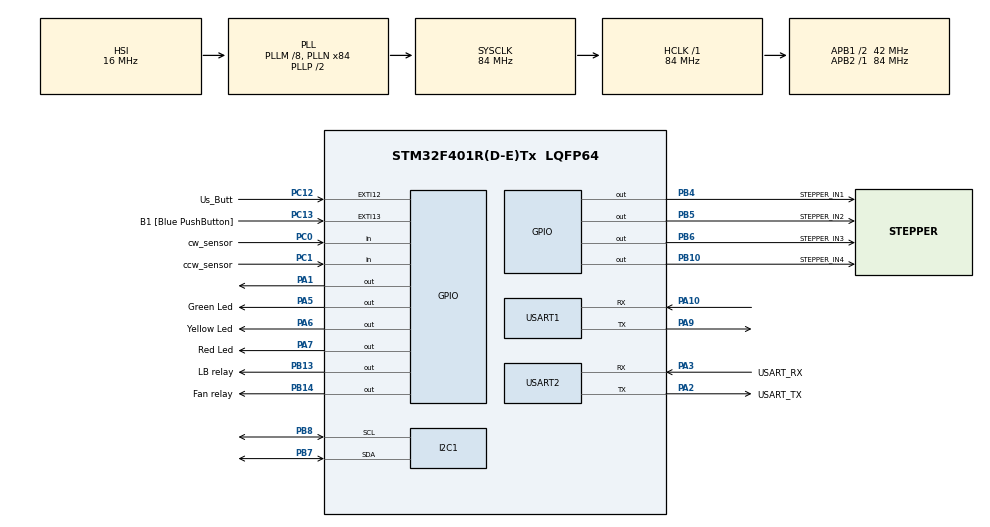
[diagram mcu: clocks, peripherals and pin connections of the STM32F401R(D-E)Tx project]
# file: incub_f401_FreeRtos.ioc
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FREERTOS.Tasks01=defaultTask,24,128,StartDefaultTask,Default,NULL,Dynamic,NULL,NULL;SensorCommTask,40,512,StartSensorCommTask,Default,NULL,Dynamic,NULL,NULL;StepperTask,24,512,StartStepperTask,Default,NULL,Dynamic,NULL,NULL;FanTask,8,512,StartFanTask,Default,NULL,Dynamic,NULL,NULL;BulbTask,8,512,StartBulbTask,Default,NULL,Dynamic,NULL,NULL;LEDTask,16,512,StartLEDTask,Default,NULL,Dynamic,NULL,NULL;DisplayTask,8,512,StartDisplayTask,Default,NULL,Dynamic,NULL,NULL
FREERTOS.configUSE_NEWLIB_REENTRANT=1
Mcu.Family=STM32F4
Mcu.Name=STM32F401R(D-E)Tx
Mcu.Package=LQFP64
NVIC.EXTI15_10_IRQn=true\:5\:0\:false\:false\:true\:true\:true\:true\:true
NVIC.PriorityGroup=NVIC_PRIORITYGROUP_4
NVIC.TIM3_IRQn=true\:15\:0\:false\:false\:true\:false\:false\:true\:true
NVIC.TimeBase=TIM3_IRQn
NVIC.TimeBaseIP=TIM3
PA1.GPIO_ModeDefaultOutputPP=GPIO_MODE_OUTPUT_PP
PA1.GPIO_PuPd=GPIO_PULLUP
PA1.PinState=GPIO_PIN_SET
PA1.Signal=GPIO_Output
PA10.Mode=Asynchronous
PA10.Signal=USART1_RX
PA13.GPIO_Label=TMS
PA13.Mode=Trace_Asynchronous_SW
PA13.Signal=SYS_JTMS-SWDIO
PA14.GPIO_Label=TCK
PA14.Mode=Trace_Asynchronous_SW
PA14.Signal=SYS_JTCK-SWCLK
PA2.GPIO_Label=USART_TX
PA2.GPIO_Mode=GPIO_MODE_AF_PP
PA2.GPIO_PuPd=GPIO_NOPULL
PA2.GPIO_Speed=GPIO_SPEED_FREQ_LOW
PA2.Mode=Asynchronous
PA2.Signal=USART2_TX
PA3.GPIO_Label=USART_RX
PA3.GPIO_Mode=GPIO_MODE_AF_PP
PA3.GPIO_PuPd=GPIO_NOPULL
PA3.GPIO_Speed=GPIO_SPEED_FREQ_LOW
PA3.Mode=Asynchronous
PA3.Signal=USART2_RX
PA5.GPIO_Label=Green Led
PA5.GPIO_Mode=GPIO_MODE_OUTPUT_PP
PA5.GPIO_PuPd=GPIO_NOPULL
PA5.GPIO_Speed=GPIO_SPEED_FREQ_LOW
PA5.Signal=GPIO_Output
PA6.GPIO_Label=Yellow Led
PA6.Signal=GPIO_Output
PA7.GPIO_Label=Red Led
PA7.GPIO_Speed=GPIO_SPEED_FREQ_LOW
PA7.Signal=GPIO_Output
PA9.Mode=Asynchronous
PA9.Signal=USART1_TX
PB10.GPIO_Label=STEPPER_IN4
PB10.Signal=GPIO_Output
PB13.GPIO_Label=LB relay
PB13.Signal=GPIO_Output
PB14.GPIO_Label=Fan relay
PB14.Signal=GPIO_Output
PB3.GPIO_Label=SWO
PB3.Mode=Trace_Asynchronous_SW
PB3.Signal=SYS_JTDO-SWO
PB4.GPIO_Label=STEPPER_IN1
PB4.Signal=GPIO_Output
PB5.GPIO_Label=STEPPER_IN2
PB5.Signal=GPIO_Output
PB6.GPIO_Label=STEPPER_IN3
PB6.Signal=GPIO_Output
PB7.Mode=I2C
PB7.Signal=I2C1_SDA
PB8.Mode=I2C
PB8.Signal=I2C1_SCL
PC0.GPIO_Label=cw_sensor
PC0.GPIO_PuPd=GPIO_PULLUP
PC0.Signal=GPIO_Input
PC1.GPIO_Label=ccw_sensor
PC1.GPIO_Mode=GPIO_MODE_INPUT
PC1.GPIO_PuPd=GPIO_PULLUP
PC1.Signal=GPIO_Input
PC12.GPIO_Label=Us_Butt
PC12.GPIO_PuPd=GPIO_NOPULL
PC12.Signal=GPXTI12
PC13-ANTI_TAMP.GPIO_Label=B1 [Blue PushButton]
PC13-ANTI_TAMP.GPIO_ModeDefaultEXTI=GPIO_MODE_IT_FALLING
PC13-ANTI_TAMP.GPIO_PuPd=GPIO_NOPULL
PC13-ANTI_TAMP.Signal=GPXTI13
PC14-OSC32_IN.Mode=LSE-External-Oscillator
PC14-OSC32_IN.Signal=RCC_OSC32_IN
PC15-OSC32_OUT.Mode=LSE-External-Oscillator
PC15-OSC32_OUT.Signal=RCC_OSC32_OUT
PH0\ -\ OSC_IN.Mode=HSE-External-Clock-Source
PH0\ -\ OSC_IN.Signal=RCC_OSC_IN
PH1\ -\ OSC_OUT.Mode=HSE-External-Clock-Source
PH1\ -\ OSC_OUT.Signal=RCC_OSC_OUT
ProjectManager.HeapSize=0x200
ProjectManager.StackSize=0x400
ProjectManager.TargetToolchain=STM32CubeIDE
RCC.48MHZClocksFreq_Value=24000000
RCC.AHBFreq_Value=84000000
RCC.APB1CLKDivider=RCC_HCLK_DIV2
RCC.APB1Freq_Value=42000000
RCC.APB1TimFreq_Value=84000000
RCC.APB2Freq_Value=84000000
RCC.APB2TimFreq_Value=84000000
RCC.CortexFreq_Value=84000000
RCC.HCLKFreq_Value=84000000
RCC.HSE_VALUE=8000000
RCC.HSI_VALUE=16000000
RCC.PLLM=8
RCC.PLLN=84
RCC.PLLQ=7
RCC.SYSCLKFreq_VALUE=84000000
RCC.SYSCLKSource=RCC_SYSCLKSOURCE_PLLCLK
RCC.VCOOutputFreq_Value=168000000
TIM1.Prescaler=83
USART1.VirtualMode=VM_ASYNC
USART2.VirtualMode=VM_ASYNC
VP_FREERTOS_VS_CMSIS_V2.Mode=CMSIS_V2
VP_SYS_VS_tim3.Mode=TIM3
VP_TIM1_VS_ClockSourceINT.Mode=Internal
board=NUCLEO-F401RE

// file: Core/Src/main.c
 /* USER CODE BEGIN Header */
/**
  ******************************************************************************
  * @file           : main.c
  * @brief          : Main program body
  ******************************************************************************
  * @attention
  *
  * Copyright (c) 2025 STMicroelectronics.
  * All rights reserved.
  *
  * This software is licensed under terms that can be found in the LICENSE file
  * in the root directory of this software component.
  * If no LICENSE file comes with this software, it is provided AS-IS.
  *
  ******************************************************************************
  */
/* USER CODE END Header */
#include "main.h"
#include "cmsis_os.h"

/* USER CODE BEGIN Includes */
#include <stdio.h>
#include <stdbool.h>
#include <string.h>

/* USER CODE END Includes */

/* USER CODE BEGIN PM */
#define HMIN 50.0f
#define HMAX 55.0f
#define H_MID 52.5f
#define MOY_THRESHOLD 0.5f
/* USER CODE END PM */

I2C_HandleTypeDef hi2c1;

TIM_HandleTypeDef htim1;

UART_HandleTypeDef huart1;
UART_HandleTypeDef huart2;

/* Definitions for defaultTask */
osThreadId_t defaultTaskHandle;
const osThreadAttr_t defaultTask_attributes = {
  .name = "defaultTask",
  .stack_size = 128 * 4,
  .priority = (osPriority_t) osPriorityNormal,
};
/* Definitions for SensorCommTask */
osThreadId_t SensorCommTaskHandle;
const osThreadAttr_t SensorCommTask_attributes = {
  .name = "SensorCommTask",
  .stack_size = 512 * 4,
  .priority = (osPriority_t) osPriorityHigh,
};
/* Definitions for StepperTask */
osThreadId_t StepperTaskHandle;
const osThreadAttr_t StepperTask_attributes = {
  .name = "StepperTask",
  .stack_size = 512 * 4,
  .priority = (osPriority_t) osPriorityNormal,
};
/* Definitions for FanTask */
osThreadId_t FanTaskHandle;
const osThreadAttr_t FanTask_attributes = {
  .name = "FanTask",
  .stack_size = 512 * 4,
  .priority = (osPriority_t) osPriorityLow,
};
/* Definitions for BulbTask */
osThreadId_t BulbTaskHandle;
const osThreadAttr_t BulbTask_attributes = {
  .name = "BulbTask",
  .stack_size = 512 * 4,
  .priority = (osPriority_t) osPriorityLow,
};
/* Definitions for LEDTask */
osThreadId_t LEDTaskHandle;
const osThreadAttr_t LEDTask_attributes = {
  .name = "LEDTask",
  .stack_size = 512 * 4,
  .priority = (osPriority_t) osPriorityBelowNormal,
};
/* Definitions for DisplayTask */
osThreadId_t DisplayTaskHandle;
const osThreadAttr_t DisplayTask_attributes = {
  .name = "DisplayTask",
  .stack_size = 512 * 4,
  .priority = (osPriority_t) osPriorityLow,
};
/* USER CODE BEGIN PV */
volatile uint8_t stepper_timer_flag = 1;

uint32_t tReset = 0;
uint8_t current_screen = 1;
bool Hgood = false;

volatile int8_t StepperState = 0;
volatile uint8_t speed = 0;

uint32_t tFan = 0;
uint32_t tFanOn = 10000;   // initial on time in ms
uint32_t tFanOFF = 20000;  // initial off time in ms
uint8_t FanState = 1;      // 1 = ON, 0 = OFF

bool LBon = false;
uint32_t tLastLBon = 0;

/* USER CODE END PV */

void SystemClock_Config(void);
static void MX_GPIO_Init(void);
static void MX_USART2_UART_Init(void);
static void MX_TIM1_Init(void);
static void MX_USART1_UART_Init(void);
static void MX_I2C1_Init(void);
void StartDefaultTask(void *argument);
void StartSensorCommTask(void *argument);
void StartStepperTask(void *argument);
void StartFanTask(void *argument);
void StartBulbTask(void *argument);
void StartLEDTask(void *argument);
void StartDisplayTask(void *argument);

/* USER CODE BEGIN 0 */
// System variables

void scan_i2c_bus(void)
{
    char msg[32];
    HAL_UART_Transmit(&huart2, (uint8_t*)"Scanning I2C bus:\r\n", 20, HAL_MAX_DELAY);

    for (uint8_t addr = 1; addr < 128; addr++)
    {
        if (HAL_I2C_IsDeviceReady(&hi2c1, addr << 1, 1, 10) == HAL_OK)
        {
            int len = sprintf(msg, "Found device at 0x%02X\r\n", addr);
            HAL_UART_Transmit(&huart2, (uint8_t*)msg, len, HAL_MAX_DELAY);
        }
    }
    HAL_UART_Transmit(&huart2, (uint8_t*)"Scan done.\r\n", 12, HAL_MAX_DELAY);
}

float h, f,t, tLBon100;
float tmin = 1000.0f;  // start with a large number
float tmax = -1000.0f; // start with a very small number
float hmin = 1000.0f;
float hmax = -1000.0f;

void Led(float h)
{

    if (h >= HMIN && h <= HMAX)
    {
        HAL_GPIO_WritePin(GPIOA, Red_Led_Pin, GPIO_PIN_RESET);
        HAL_GPIO_WritePin(GPIOA, Yellow_Led_Pin, GPIO_PIN_RESET);
        HAL_GPIO_WritePin(GPIOA, Green_Led_Pin, GPIO_PIN_SET);
        Hgood = true;
    }
    else if (((h >= HMIN - 1) && (h < HMIN)) || ((h > HMAX) && (h <= HMAX + 1)))
    {
        HAL_GPIO_WritePin(GPIOA, Red_Led_Pin, GPIO_PIN_RESET);
        HAL_GPIO_WritePin(GPIOA, Yellow_Led_Pin, GPIO_PIN_SET);
        HAL_GPIO_WritePin(GPIOA, Green_Led_Pin, GPIO_PIN_RESET);
        Hgood = false;
    }
    else
    {
        HAL_GPIO_WritePin(GPIOA, Red_Led_Pin, GPIO_PIN_SET);
        HAL_GPIO_WritePin(GPIOA, Yellow_Led_Pin, GPIO_PIN_RESET);
        HAL_GPIO_WritePin(GPIOA, Green_Led_Pin, GPIO_PIN_RESET);
        Hgood = false;
    }

}

void Stepper_Update(void) {

    // Normal stepping (if enabled and no stop request)
    if (stepper_timer_flag) {

        Stepper_Step(1);
    }
}

typedef enum {
    STEPPER_IDLE = 0,
    STEPPER_MOVING_CW,
    STEPPER_MOVING_CCW
} StepperRunState;

StepperRunState stepper_run_state = STEPPER_IDLE;

void StepperControl(float h)
{

	static float tab[10] = {0};
	static uint8_t k = 0;
    float sum = 0;

    // Update circular buffer
    tab[k] = h;
    k = (k + 1) % 10;

    if (!Hgood) {
        float fillValue = (h < H_MID) ? HMIN : HMAX;
        for (int j = 0; j < 10; j++) {
            tab[j] = fillValue;
        }
        k = 0;

        // Direct control based on raw h
        speed = 50;
        StepperState = (h > H_MID) ? 1 : -1;

    } else {
        // Filtered control based on average of last 10 readings
        speed = 15;
        for (int j = 0; j < 10; j++) {
            sum += tab[j];
        }

        float moy = sum / 10.0f;
        float diff = moy - H_MID;

        if (diff >= MOY_THRESHOLD)
            StepperState = -1;
        else if (diff <= -MOY_THRESHOLD)
            StepperState = 1;
        else
            StepperState = 0;
    }
    /*
    // Determine speed and StepperState based on Hgood and h
    if (!Hgood)
    {
        speed = 10;
        StepperState = (h > 52.5f) ? -1 : 1;
    }
    else
    {
        speed = 10;
        if (h > 53.0f)
            StepperState = -1;
        else if (h < 52.0f)
            StepperState = 1;
        else
            StepperState = 0;
    }*/

    // Apply the speed setting to the stepper driver
    Stepper_SetSpeed(speed);

    // Update direction and run state
    if (StepperState == 1 && stepper_run_state != STEPPER_MOVING_CCW)
    {
        current_direction = DIRECTION_CCW;
        stepper_run_state = STEPPER_MOVING_CCW;
    }
    else if (StepperState == -1 && stepper_run_state != STEPPER_MOVING_CW)
    {
        current_direction = DIRECTION_CW;
        stepper_run_state = STEPPER_MOVING_CW;
    }
    else if (StepperState == 0)
    {
        Stepper_Stop();
        stepper_run_state = STEPPER_IDLE;
    }

    // Step execution with limit switch checking
    if (stepper_run_state == STEPPER_MOVING_CCW)
    {
        if (HAL_GPIO_ReadPin(GPIOC, GPIO_PIN_1) == GPIO_PIN_SET)
        {
            Stepper_Step(1);
        }
        else
        {
            Stepper_Stop();
            stepper_run_state = STEPPER_IDLE;
            StepperState = 0;
        }
    }
    else if (stepper_run_state == STEPPER_MOVING_CW)
    {
        if (HAL_GPIO_ReadPin(GPIOC, GPIO_PIN_0) == GPIO_PIN_SET)
        {
            Stepper_Step(1);
        }
        else
        {
            Stepper_Stop();
            stepper_run_state = STEPPER_IDLE;
            StepperState = 0;
        }
    }
}

void FanUpdate(float h)
{
    uint32_t now = HAL_GetTick();

    // Set timing based on humidity and Hgood
    if (Hgood) {
        tFanOn = 10000;
        tFanOFF = 20000;
    }
    if (h > 65) {
        tFanOn = 20000;
        tFanOFF = 15000;
    }
    else if (h < 60) {
        tFanOn = 10000;
        tFanOFF = 30000;
    }

    // Fan control logic
    if ((now - tFan >= tFanOn) && (FanState == 1)) {
        tFan = now;
        HAL_GPIO_WritePin(GPIOB, GPIO_PIN_14, GPIO_PIN_SET);  // FAN OFF (relay HIGH)
        FanState = 0;
        char msg[] = "FAN OFF\r\n";
        HAL_UART_Transmit(&huart2, (uint8_t*)msg, sizeof(msg) - 1, HAL_MAX_DELAY);
    }
    else if ((now - tFan >= tFanOFF) && (FanState == 0)) {
        tFan = now;
        HAL_GPIO_WritePin(GPIOB, GPIO_PIN_14, GPIO_PIN_RESET);    // FAN ON (relay LOW)
        FanState = 1;
        char msg[] = "FAN ON\r\n";
        HAL_UART_Transmit(&huart2, (uint8_t*)msg, sizeof(msg) - 1, HAL_MAX_DELAY);
    }
}

void LBrelay(void)
{
    char msg[64];  // Buffer for UART message

    if ((f <= 99) && (!LBon)) {
        // Close relay (ON) -> HIGH
        HAL_GPIO_WritePin(GPIOB, GPIO_PIN_13, GPIO_PIN_RESET);   // Relay HIGH = ON

        LBon = true;
        tLastLBon = HAL_GetTick();

        snprintf(msg, sizeof(msg), "Relay ON at %lu ms, Temp F=%.2f\r\n", tLastLBon, f);
        HAL_UART_Transmit(&huart2, (uint8_t*)msg, strlen(msg), HAL_MAX_DELAY);
    }

    if ((f >= 105.5) && (LBon)) {
        // Open relay (OFF) -> LOW
        HAL_GPIO_WritePin(GPIOB, GPIO_PIN_13, GPIO_PIN_SET); // Relay LOW = OFF

        LBon = false;

        snprintf(msg, sizeof(msg), "Relay OFF, Temp F=%.2f\r\n", f);
        HAL_UART_Transmit(&huart2, (uint8_t*)msg, strlen(msg), HAL_MAX_DELAY);
    }
}

void UpdateDisplay() {

  switch(current_screen) {
    case 1: Display_Screen1(h, t); break;
    case 2: Display_Screen2(hmax, hmin); break;
    case 3: Display_Screen3(tmax, tmin); break;
    case 4: Display_Screen4(StepperState); break;
    case 5: Display_Screen5(tReset); break;
  }
}

void HAL_GPIO_EXTI_Callback(uint16_t GPIO_Pin) {
    /*if (GPIO_Pin == GPIO_PIN_13) {
        static uint32_t last_press = 0;
        // Debounce with 300ms threshold
        if (HAL_GetTick() - last_press > 300) {
        	stepper_timer_flag = 0;  // Request stop
            last_press = HAL_GetTick();
        }
    }*/

	volatile uint32_t last_button_press = 0;
    if ((GPIO_Pin == GPIO_PIN_13) || (GPIO_Pin == GPIO_PIN_12 ))  {
        uint32_t now = HAL_GetTick();

        // Simple debounce check
        if (now - last_button_press > 300) {
            last_button_press = now;

            // Your original button handling code
            current_screen = (current_screen % 5) + 1;
            lcd_clear();
            UpdateDisplay();
        }
    }
}

/* USER CODE END 0 */

int main(void)
{

  /* USER CODE BEGIN 1 */
	char uart_buf[64] = "System starting...\n\r" ;

  /* USER CODE END 1 */

  /* MCU Configuration--------------------------------------------------------*/

  /* Reset of all peripherals, Initializes the Flash interface and the Systick. */
  HAL_Init();

  /* Configure the system clock */
  SystemClock_Config();

  /* Initialize all configured peripherals */
  MX_GPIO_Init();
  MX_USART2_UART_Init();
  MX_TIM1_Init();
  MX_USART1_UART_Init();
  MX_I2C1_Init();
  /* USER CODE BEGIN 2 */

  HAL_UART_Transmit(&huart2, (uint8_t*)uart_buf, sizeof(uart_buf), 10);
  DHT11_Init(&htim1);

  /*
  uint32_t last_dht_read = 0;
  uint32_t last_dis5_read = 0;
  */

  scan_i2c_bus();

  lcd_init();

  /* USER CODE END 2 */

  /* Init scheduler */
  osKernelInitialize();

  /* Create the thread(s) */
  /* creation of defaultTask */
  defaultTaskHandle = osThreadNew(StartDefaultTask, NULL, &defaultTask_attributes);

  /* creation of SensorCommTask */
  SensorCommTaskHandle = osThreadNew(StartSensorCommTask, NULL, &SensorCommTask_attributes);

  /* creation of StepperTask */
  StepperTaskHandle = osThreadNew(StartStepperTask, NULL, &StepperTask_attributes);

  /* creation of FanTask */
  FanTaskHandle = osThreadNew(StartFanTask, NULL, &FanTask_attributes);

  /* creation of BulbTask */
  BulbTaskHandle = osThreadNew(StartBulbTask, NULL, &BulbTask_attributes);

  /* creation of LEDTask */
  LEDTaskHandle = osThreadNew(StartLEDTask, NULL, &LEDTask_attributes);

  /* creation of DisplayTask */
  DisplayTaskHandle = osThreadNew(StartDisplayTask, NULL, &DisplayTask_attributes);

  /* Start scheduler */
  osKernelStart();

  /* We should never get here as control is now taken by the scheduler */

  /* Infinite loop */
  while (1)
  {

    /* USER CODE BEGIN 3 */

	  /*

	    // Read DHT11 every 5 seconds
	    if (HAL_GetTick() - last_dht_read >= 5000) {
	        last_dht_read = HAL_GetTick();

	        float temperature, humidity;
	        if (DHT11_ReadData(&temperature, &humidity)) {
	            // Format and send UART data (your existing code)
	            int len = snprintf(uart_buf, sizeof(uart_buf), "Temp: %.1fC, Hum: %.1f%%\r\n", temperature, humidity);
	            HAL_UART_Transmit(&huart2, (uint8_t*)uart_buf, len, HAL_MAX_DELAY);

	            // Update min/max (your existing code)
	            h = humidity;
	            t = temperature;
	            f = (temperature * 9.0f / 5.0f) + 32.0f;
	            if (t < tmin) tmin = t;
	            if (t > tmax) tmax = t;
	            if (h < hmin) hmin = h;
	            if (h > hmax) hmax = h;

	            // Send to ESP32
	            char esp32_buf[100];
	            uint32_t seconds = (HAL_GetTick() - tReset) / 1000;
	            uint32_t days = seconds / 86400;
	            seconds %= 86400;
	            uint32_t hours = seconds / 3600;
	            seconds %= 3600;
	            uint32_t minutes = seconds / 60;
	            seconds %= 60;

	            char uptime_str[20];
	            sprintf(uptime_str, "%02lu:%02lu:%02lu:%02lu", days, hours, minutes, seconds);

	            const char *DoorState;
	            if (StepperState == 1)
	                DoorState = "Opening";
	            else if (StepperState == -1)
	                DoorState = "Closing";
	            else
	                DoorState = "Idle";

	            int esp_len = snprintf(esp32_buf, sizeof(esp32_buf),
	                                   "T:%.1fF H:%.1f%% Tmin:%.1f Tmax:%.1f Hmin:%.1f Hmax:%.1f Uptime:%s Door:%s\r\n",
	                                   t, h, tmin, tmax, hmin, hmax, uptime_str, DoorState);

	            HAL_UART_Transmit(&huart1, (uint8_t*)esp32_buf, esp_len, HAL_MAX_DELAY);
	        }
	        Led(h);
	        FanUpdate(h);
	        LBrelay();
	        UpdateDisplay();

	    }
	    if (current_screen == 5){
		    if (HAL_GetTick() - last_dis5_read >= 1000) {
		        last_dis5_read = HAL_GetTick();
		        UpdateDisplay();
		    }

	    }

	    StepperControl(h);  */

	}
	    /*for (int i = 0; i < 8; i++)
	    {
	        GPIOB->ODR = stepper_sequence[i];
	        HAL_Delay(500);  // Adjust delay to see step clearly
	    }*/

  /* USER CODE END 3 */
}

void SystemClock_Config(void)
{
  RCC_OscInitTypeDef RCC_OscInitStruct = {0};
  RCC_ClkInitTypeDef RCC_ClkInitStruct = {0};

  /** Configure the main internal regulator output voltage
  */
  __HAL_RCC_PWR_CLK_ENABLE();
  __HAL_PWR_VOLTAGESCALING_CONFIG(PWR_REGULATOR_VOLTAGE_SCALE2);

  /** Initializes the RCC Oscillators according to the specified parameters
  * in the RCC_OscInitTypeDef structure.
  */
  RCC_OscInitStruct.OscillatorType = RCC_OSCILLATORTYPE_HSI;
  RCC_OscInitStruct.HSIState = RCC_HSI_ON;
  RCC_OscInitStruct.HSICalibrationValue = RCC_HSICALIBRATION_DEFAULT;
  RCC_OscInitStruct.PLL.PLLState = RCC_PLL_ON;
  RCC_OscInitStruct.PLL.PLLSource = RCC_PLLSOURCE_HSI;
  RCC_OscInitStruct.PLL.PLLM = 8;
  RCC_OscInitStruct.PLL.PLLN = 84;
  RCC_OscInitStruct.PLL.PLLP = RCC_PLLP_DIV2;
  RCC_OscInitStruct.PLL.PLLQ = 7;
  if (HAL_RCC_OscConfig(&RCC_OscInitStruct) != HAL_OK)
  {
    Error_Handler();
  }

  /** Initializes the CPU, AHB and APB buses clocks
  */
  RCC_ClkInitStruct.ClockType = RCC_CLOCKTYPE_HCLK|RCC_CLOCKTYPE_SYSCLK
                              |RCC_CLOCKTYPE_PCLK1|RCC_CLOCKTYPE_PCLK2;
  RCC_ClkInitStruct.SYSCLKSource = RCC_SYSCLKSOURCE_PLLCLK;
  RCC_ClkInitStruct.AHBCLKDivider = RCC_SYSCLK_DIV1;
  RCC_ClkInitStruct.APB1CLKDivider = RCC_HCLK_DIV2;
  RCC_ClkInitStruct.APB2CLKDivider = RCC_HCLK_DIV1;

  if (HAL_RCC_ClockConfig(&RCC_ClkInitStruct, FLASH_LATENCY_2) != HAL_OK)
  {
    Error_Handler();
  }
}

static void MX_I2C1_Init(void)
{

  hi2c1.Instance = I2C1;
  hi2c1.Init.ClockSpeed = 100000;
  hi2c1.Init.DutyCycle = I2C_DUTYCYCLE_2;
  hi2c1.Init.OwnAddress1 = 0;
  hi2c1.Init.AddressingMode = I2C_ADDRESSINGMODE_7BIT;
  hi2c1.Init.DualAddressMode = I2C_DUALADDRESS_DISABLE;
  hi2c1.Init.OwnAddress2 = 0;
  hi2c1.Init.GeneralCallMode = I2C_GENERALCALL_DISABLE;
  hi2c1.Init.NoStretchMode = I2C_NOSTRETCH_DISABLE;
  if (HAL_I2C_Init(&hi2c1) != HAL_OK)
  {
    Error_Handler();
  }

}

static void MX_TIM1_Init(void)
{

  TIM_ClockConfigTypeDef sClockSourceConfig = {0};
  TIM_MasterConfigTypeDef sMasterConfig = {0};

  htim1.Instance = TIM1;
  htim1.Init.Prescaler = 83;
  htim1.Init.CounterMode = TIM_COUNTERMODE_UP;
  htim1.Init.Period = 65535;
  htim1.Init.ClockDivision = TIM_CLOCKDIVISION_DIV1;
  htim1.Init.RepetitionCounter = 0;
  htim1.Init.AutoReloadPreload = TIM_AUTORELOAD_PRELOAD_DISABLE;
  if (HAL_TIM_Base_Init(&htim1) != HAL_OK)
  {
    Error_Handler();
  }
  sClockSourceConfig.ClockSource = TIM_CLOCKSOURCE_INTERNAL;
  if (HAL_TIM_ConfigClockSource(&htim1, &sClockSourceConfig) != HAL_OK)
  {
    Error_Handler();
  }
  sMasterConfig.MasterOutputTrigger = TIM_TRGO_RESET;
  sMasterConfig.MasterSlaveMode = TIM_MASTERSLAVEMODE_DISABLE;
  if (HAL_TIMEx_MasterConfigSynchronization(&htim1, &sMasterConfig) != HAL_OK)
  {
    Error_Handler();
  }

}

static void MX_USART1_UART_Init(void)
{

  huart1.Instance = USART1;
  huart1.Init.BaudRate = 115200;
  huart1.Init.WordLength = UART_WORDLENGTH_8B;
  huart1.Init.StopBits = UART_STOPBITS_1;
  huart1.Init.Parity = UART_PARITY_NONE;
  huart1.Init.Mode = UART_MODE_TX_RX;
  huart1.Init.HwFlowCtl = UART_HWCONTROL_NONE;
  huart1.Init.OverSampling = UART_OVERSAMPLING_16;
  if (HAL_UART_Init(&huart1) != HAL_OK)
  {
    Error_Handler();
  }

}

static void MX_USART2_UART_Init(void)
{

  huart2.Instance = USART2;
  huart2.Init.BaudRate = 115200;
  huart2.Init.WordLength = UART_WORDLENGTH_8B;
  huart2.Init.StopBits = UART_STOPBITS_1;
  huart2.Init.Parity = UART_PARITY_NONE;
  huart2.Init.Mode = UART_MODE_TX_RX;
  huart2.Init.HwFlowCtl = UART_HWCONTROL_NONE;
  huart2.Init.OverSampling = UART_OVERSAMPLING_16;
  if (HAL_UART_Init(&huart2) != HAL_OK)
  {
    Error_Handler();
  }

}

static void MX_GPIO_Init(void)
{
  GPIO_InitTypeDef GPIO_InitStruct = {0};

  /* GPIO Ports Clock Enable */
  __HAL_RCC_GPIOC_CLK_ENABLE();
  __HAL_RCC_GPIOH_CLK_ENABLE();
  __HAL_RCC_GPIOA_CLK_ENABLE();
  __HAL_RCC_GPIOB_CLK_ENABLE();

  /*Configure GPIO pin Output Level */
  HAL_GPIO_WritePin(GPIOA, GPIO_PIN_1, GPIO_PIN_SET);

  /*Configure GPIO pin Output Level */
  HAL_GPIO_WritePin(GPIOA, Green_Led_Pin|Yellow_Led_Pin|Red_Led_Pin, GPIO_PIN_RESET);

  /*Configure GPIO pin Output Level */
  HAL_GPIO_WritePin(GPIOB, STEPPER_IN4_Pin|LB_relay_Pin|Fan_relay_Pin|STEPPER_IN1_Pin
                          |STEPPER_IN2_Pin|STEPPER_IN3_Pin, GPIO_PIN_RESET);

  /*Configure GPIO pin : B1_Pin */
  GPIO_InitStruct.Pin = B1_Pin;
  GPIO_InitStruct.Mode = GPIO_MODE_IT_FALLING;
  GPIO_InitStruct.Pull = GPIO_NOPULL;
  HAL_GPIO_Init(B1_GPIO_Port, &GPIO_InitStruct);

  /*Configure GPIO pins : cw_sensor_Pin ccw_sensor_Pin */
  GPIO_InitStruct.Pin = cw_sensor_Pin|ccw_sensor_Pin;
  GPIO_InitStruct.Mode = GPIO_MODE_INPUT;
  GPIO_InitStruct.Pull = GPIO_PULLUP;
  HAL_GPIO_Init(GPIOC, &GPIO_InitStruct);

  /*Configure GPIO pin : PA1 */
  GPIO_InitStruct.Pin = GPIO_PIN_1;
  GPIO_InitStruct.Mode = GPIO_MODE_OUTPUT_PP;
  GPIO_InitStruct.Pull = GPIO_PULLUP;
  GPIO_InitStruct.Speed = GPIO_SPEED_FREQ_LOW;
  HAL_GPIO_Init(GPIOA, &GPIO_InitStruct);

  /*Configure GPIO pins : Green_Led_Pin Yellow_Led_Pin Red_Led_Pin */
  GPIO_InitStruct.Pin = Green_Led_Pin|Yellow_Led_Pin|Red_Led_Pin;
  GPIO_InitStruct.Mode = GPIO_MODE_OUTPUT_PP;
  GPIO_InitStruct.Pull = GPIO_NOPULL;
  GPIO_InitStruct.Speed = GPIO_SPEED_FREQ_LOW;
  HAL_GPIO_Init(GPIOA, &GPIO_InitStruct);

  /*Configure GPIO pins : STEPPER_IN4_Pin LB_relay_Pin Fan_relay_Pin STEPPER_IN1_Pin
                           STEPPER_IN2_Pin STEPPER_IN3_Pin */
  GPIO_InitStruct.Pin = STEPPER_IN4_Pin|LB_relay_Pin|Fan_relay_Pin|STEPPER_IN1_Pin
                          |STEPPER_IN2_Pin|STEPPER_IN3_Pin;
  GPIO_InitStruct.Mode = GPIO_MODE_OUTPUT_PP;
  GPIO_InitStruct.Pull = GPIO_NOPULL;
  GPIO_InitStruct.Speed = GPIO_SPEED_FREQ_LOW;
  HAL_GPIO_Init(GPIOB, &GPIO_InitStruct);

  /*Configure GPIO pin : Us_Butt_Pin */
  GPIO_InitStruct.Pin = Us_Butt_Pin;
  GPIO_InitStruct.Mode = GPIO_MODE_IT_RISING;
  GPIO_InitStruct.Pull = GPIO_NOPULL;
  HAL_GPIO_Init(Us_Butt_GPIO_Port, &GPIO_InitStruct);

  /* EXTI interrupt init*/
  HAL_NVIC_SetPriority(EXTI15_10_IRQn, 5, 0);
  HAL_NVIC_EnableIRQ(EXTI15_10_IRQn);

}

void StartDefaultTask(void *argument)
{
  for(;;)
  {
    osDelay(1);
  }
}

void StartSensorCommTask(void *argument)
{
  /* USER CODE BEGIN StartSensorCommTask */
	  float temperature = 0, humidity = 0;
	  char uart_buf[64];
  /* Infinite loop */
  for(;;)
  {
      if (DHT11_ReadData(&temperature, &humidity)) {
          // Format and send UART data (your existing code)
          int len = snprintf(uart_buf, sizeof(uart_buf), "Temp: %.1fC, Hum: %.1f%%\r\n", temperature, humidity);
          HAL_UART_Transmit(&huart2, (uint8_t*)uart_buf, len, HAL_MAX_DELAY);

          // Update min/max (your existing code)
          h = humidity;
          t = temperature;
          f = (temperature * 9.0f / 5.0f) + 32.0f;
          if (t < tmin) tmin = t;
          if (t > tmax) tmax = t;
          if (h < hmin) hmin = h;
          if (h > hmax) hmax = h;

          // Send to ESP32
          char esp32_buf[100];
          uint32_t seconds = (HAL_GetTick() - tReset) / 1000;
          uint32_t days = seconds / 86400;
          seconds %= 86400;
          uint32_t hours = seconds / 3600;
          seconds %= 3600;
          uint32_t minutes = seconds / 60;
          seconds %= 60;

          char uptime_str[20];
          sprintf(uptime_str, "%02lu:%02lu:%02lu:%02lu", days, hours, minutes, seconds);

          const char *DoorState;
          if (StepperState == 1)
              DoorState = "Opening";
          else if (StepperState == -1)
              DoorState = "Closing";
          else
              DoorState = "Idle";

          int esp_len = snprintf(esp32_buf, sizeof(esp32_buf),
                                 "T:%.1fF H:%.1f%% Tmin:%.1f Tmax:%.1f Hmin:%.1f Hmax:%.1f Uptime:%s Door:%s\r\n",
                                 t, h, tmin, tmax, hmin, hmax, uptime_str, DoorState);

          HAL_UART_Transmit(&huart1, (uint8_t*)esp32_buf, esp_len, HAL_MAX_DELAY);

          // Resume other tasks to process data
          osThreadResume(FanTaskHandle);
          osThreadResume(BulbTaskHandle);
          osThreadResume(LEDTaskHandle);
          osThreadResume(DisplayTaskHandle);
      }
    osDelay(5000);
  }
  /* USER CODE END StartSensorCommTask */
}

void StartStepperTask(void *argument)
{
  /* USER CODE BEGIN StartStepperTask */
  /* Infinite loop */
  for(;;)
  {
	  StepperControl(h);
      osDelay(1);
  }
  /* USER CODE END StartStepperTask */
}

void StartFanTask(void *argument)
{
  /* USER CODE BEGIN StartFanTask */
  /* Infinite loop */
  for(;;)
  {
	  FanUpdate(h);

	  osThreadSuspend(FanTaskHandle);
  }
  /* USER CODE END StartFanTask */
}

void StartBulbTask(void *argument)
{
  /* USER CODE BEGIN StartBulbTask */
  /* Infinite loop */
  for(;;)
  {
	  LBrelay();

	  osThreadSuspend(BulbTaskHandle);
  }
  /* USER CODE END StartBulbTask */
}

void StartLEDTask(void *argument)
{
  /* USER CODE BEGIN StartLEDTask */
  /* Infinite loop */
  for(;;)
  {
	  Led(h);

	  osThreadSuspend(LEDTaskHandle);
  }
  /* USER CODE END StartLEDTask */
}

void StartDisplayTask(void *argument)
{
  /* USER CODE BEGIN StartDisplayTask */
  /* Infinite loop */
  for(;;)
  {
	  UpdateDisplay();

	  osThreadSuspend(DisplayTaskHandle);

  }
  /* USER CODE END StartDisplayTask */
}

void HAL_TIM_PeriodElapsedCallback(TIM_HandleTypeDef *htim)
{
  if (htim->Instance == TIM3) {
    HAL_IncTick();
  }
}

void Error_Handler(void)
{
  __disable_irq();
  while (1)
  {
  }
}
